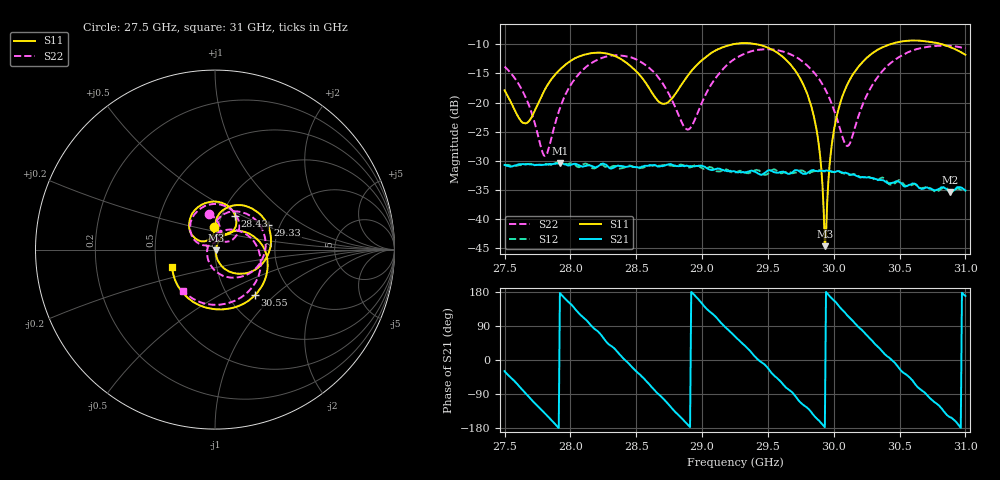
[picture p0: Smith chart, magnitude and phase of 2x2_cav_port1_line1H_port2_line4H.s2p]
!Created with skrf (http://scikit-rf.org).
# GHz S RI R 50.0
!freq ReS11 ImS11 ReS21 ImS21 ReS12 ImS12 ReS22 ImS22
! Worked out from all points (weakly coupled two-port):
!   401 points, 27.5 GHz to 31 GHz, reference 50 ohm
!   highest |S21| = -30.46 dB at 27.92 GHz (marker M1); lowest = -35.4 dB at 30.89 GHz (marker M2)
!   lowest |S11| = -44.7 dB at 29.93 GHz (marker M3), VSWR 1.01, Z = 50.5 - j0.324 ohm
!   |S11| at or under -10 dB: start of sweep to 29.24 GHz; 29.42 GHz to 30.43 GHz (1.015 GHz wide, 3.39 % of centre); 30.82 GHz to end of sweep
!   |S22| runs from -29.2 to -10.2 dB; largest |S21 - S12| = 0.002
!   S11 on the Smith chart (normalised r, x): 27.5 GHz: 0.96, +0.25; 28.43 GHz: 1.16, +0.45; 29.33 GHz: 1.73, +0.53; 30.55 GHz: 1.32, -0.76; 31 GHz: 0.61, -0.12
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27.5  -0.00675 0.1272  0.0254 -0.0143  0.0253 -0.0139  -0.0337 0.2006
27.6575  -0.0362 0.0555  0.00142 -0.0294  0.00164 -0.0293  0.03 0.108
27.80625  -0.1121 0.0641  -0.0227 -0.0185  -0.0229 -0.0185  -0.0154 0.0312
27.92  -0.144 0.1264  -0.03 0.00158  -0.0305 0.00188  -0.0839 0.0306
28.08625  -0.0983 0.2336  -0.0123 0.0255  -0.0136 0.0253  -0.1387 0.1253
28.4275  0.1132 0.1867  0.028 -0.00209  0.0281 -0.00142  0.0592 0.2415
28.6725  0.0573 0.0836  -0.000489 -0.0282  -0.000151 -0.0287  0.1292 0.0974
28.89125  0.00807 0.1695  -0.0282 -0.00448  -0.0276 -0.00408  0.0275 0.0516
29.25  0.2491 0.1985  0.0121 0.0225  0.0113 0.0225  0.1049 0.2133
29.32875  0.2933 0.1379  0.0202 0.0149  0.0205 0.0143  0.1709 0.2014
29.64375  0.191 -0.1269  0.00656 -0.0239  0.00713 -0.0244  0.2603 -0.0581
29.83625  0.029 -0.0818  -0.0204 -0.0165  -0.0196 -0.0161  0.1047 -0.1567
29.88875  0.00878 -0.0405  -0.0243 -0.00874  -0.0248 -0.0087  0.0547 -0.1496
29.9325  0.00489 -0.0032  -0.0258 -0.00123  -0.0256 -0.00108  0.0169 -0.1306
29.99375  0.0218 0.046  -0.0239 0.00886  -0.0237 0.00881  -0.0231 -0.0885
30.0725  0.0741 0.0925  -0.016 0.0191  -0.0158 0.0189  -0.0439 -0.0201
30.11625  0.1119 0.1037  -0.00935 0.0225  -0.00971 0.022  -0.0382 0.0205
30.25625  0.2388 0.0542  0.01 0.0204  0.00992 0.0207  0.0511 0.107
30.4225  0.2906 -0.1194  0.0201 0.00208  0.0198 0.00104  0.2058 0.0587
30.545  0.2224 -0.254  0.0152 -0.0114  0.0151 -0.012  0.2546 -0.0672
30.88625  -0.1841 -0.2345  -0.0149 -0.00817  -0.0153 -0.00808  -0.0417 -0.3036
31  -0.2388 -0.0947  -0.0173 0.00337  -0.0173 0.00261  -0.1759 -0.2333
